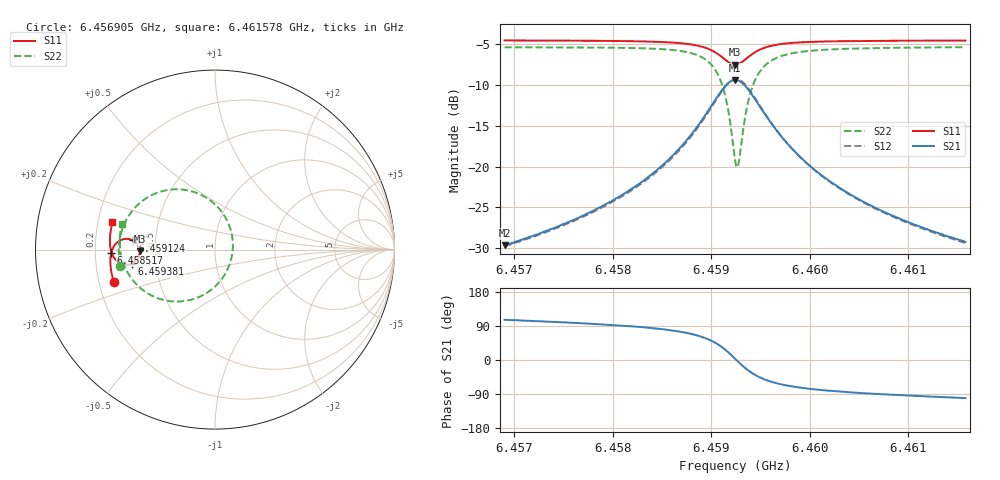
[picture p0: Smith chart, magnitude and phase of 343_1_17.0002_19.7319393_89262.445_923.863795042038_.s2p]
#  HZ  S  RI  R  50.00
! Rohde & Schwarz Vector Network Analyzer
! Rohde-Schwarz,ZNB20-2Port,1311601062101988,3.16
! Created: UTC 3/20/2024, 11:07:24 PM
! freq[Hz]  re:S11  im:S11  re:S21  im:S21  re:S12  im:S12  re:S22  im:S22
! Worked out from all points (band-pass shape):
!   401 points, 6.456905 GHz to 6.461578 GHz, reference 50 ohm
!   highest |S21| = -9.38 dB at 6.459241 GHz (marker M1); lowest = -29.6 dB at 6.456905 GHz (marker M2)
!   |S21| within 3 dB of the highest: 6.459011 GHz to 6.459478 GHz (467.2 kHz wide, 0.00723 % of centre)
!   lowest |S11| = -7.5 dB at 6.459241 GHz (marker M3), VSWR 2.45, Z = 20.4 - j0.476 ohm
!   |S11| at or under -10 dB: nowhere
!   |S22| runs from -20.1 to -5.4 dB; largest |S21 - S12| = 0.013
!   S11 on the Smith chart (normalised r, x): 6.456905 GHz: 0.26, -0.14; 6.458517 GHz: 0.27, -0.02; 6.459124 GHz: 0.37, +0.05; 6.459381 GHz: 0.36, -0.07; 6.461578 GHz: 0.26, +0.12
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6.4569049e9  -0.5648 -0.1778  -0.0091 0.0317  -0.00743 0.0317  -0.5298 -0.0907
6.4576876e9  -0.5797 -0.1097  -0.00601 0.0494  -0.00353 0.0488  -0.5364 -0.000536
6.4581431e9  -0.5831 -0.0643  0.000324 0.0698  0.00347 0.0685  -0.5283 0.0706
6.4584702e9  -0.5797 -0.0253  0.0131 0.0968  0.0169 0.0941  -0.5052 0.1433
6.458517e9  -0.5785 -0.0192  0.0162 0.102  0.0203 0.0992  -0.4992 0.1562
6.4587389e9  -0.5657 0.0147  0.0436 0.1353  0.0477 0.1305  -0.4484 0.2311
6.4588908e9  -0.544 0.041  0.0871 0.1654  0.0903 0.1589  -0.3685 0.2952
6.4590309e9  -0.5015 0.0594  0.1714 0.1831  0.1721 0.1758  -0.2159 0.336
6.4591244e9  -0.4576 0.0508  0.2594 0.1553  0.2591 0.1494  -0.0539 0.2924
6.4591711e9  -0.4364 0.0332  0.3031 0.1148  0.3037 0.1101  0.0287 0.2217
6.4592412e9  -0.4201 -0.00959  0.339 0.0209  0.3422 0.0152  0.0987 0.0495
6.4592646e9  -0.4213 -0.0255  0.3381 -0.0139  0.3418 -0.021  0.0976 -0.016
6.4592763e9  -0.4231 -0.0331  0.3351 -0.031  0.3388 -0.0387  0.0915 -0.0481
6.4593347e9  -0.4427 -0.0646  0.2996 -0.1036  0.3015 -0.1148  0.0208 -0.1847
6.4593814e9  -0.465 -0.079  0.2573 -0.1407  0.2564 -0.1533  -0.064 -0.252
6.4594748e9  -0.5069 -0.0834  0.1755 -0.167  0.1697 -0.178  -0.2259 -0.2894
6.4596267e9  -0.5486 -0.062  0.0922 -0.1522  0.0842 -0.158  -0.3841 -0.2383
6.4597902e9  -0.5692 -0.0346  0.0497 -0.125  0.0424 -0.1277  -0.4602 -0.1684
6.4600239e9  -0.581 -0.000823  0.0225 -0.0957  0.0169 -0.0964  -0.5047 -0.0915
6.4603626e9  -0.5856 0.0392  0.00685 -0.0699  0.00288 -0.0696  -0.526 -0.0152
6.4608065e9  -0.5837 0.0837  -0.00128 -0.0511  -0.00401 -0.0503  -0.5305 0.0549
6.4615775e9  -0.5714 0.1519  -0.00627 -0.034  -0.00812 -0.0331  -0.5192 0.145
